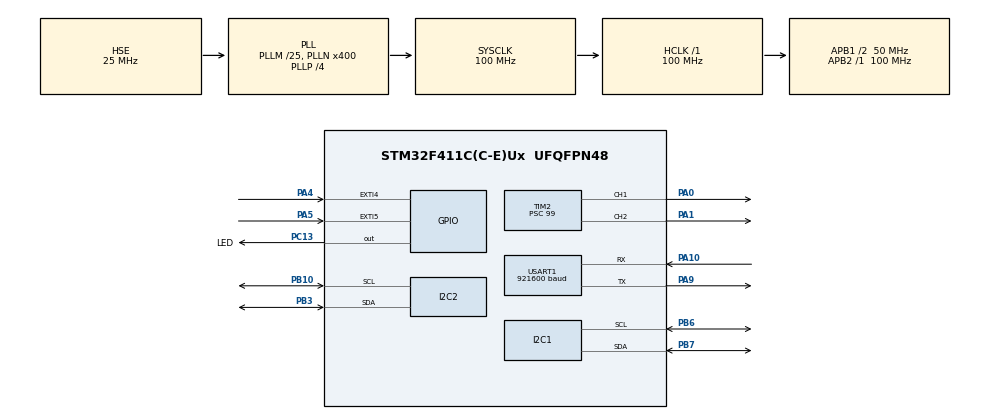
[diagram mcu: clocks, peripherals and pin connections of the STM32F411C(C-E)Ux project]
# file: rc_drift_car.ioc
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I2C1.I2C_Mode=I2C_Fast
I2C2.I2C_Mode=I2C_Fast
Mcu.Family=STM32F4
Mcu.Name=STM32F411C(C-E)Ux
Mcu.Package=UFQFPN48
NVIC.EXTI4_IRQn=true\:0\:0\:false\:false\:true\:true\:true\:true
NVIC.EXTI9_5_IRQn=true\:0\:0\:false\:false\:true\:true\:true\:true
NVIC.PriorityGroup=NVIC_PRIORITYGROUP_4
NVIC.TIM4_IRQn=true\:3\:0\:true\:false\:true\:true\:true\:true
PA0-WKUP.Signal=S_TIM2_CH1_ETR
PA1.Signal=S_TIM2_CH2
PA10.Mode=Asynchronous
PA10.Signal=USART1_RX
PA13.Mode=Serial_Wire
PA13.Signal=SYS_JTMS-SWDIO
PA14.Mode=Serial_Wire
PA14.Signal=SYS_JTCK-SWCLK
PA4.GPIO_ModeDefaultEXTI=GPIO_MODE_IT_RISING_FALLING
PA4.GPIO_PuPd=GPIO_PULLUP
PA4.Signal=GPXTI4
PA5.GPIO_ModeDefaultEXTI=GPIO_MODE_IT_RISING_FALLING
PA5.GPIO_PuPd=GPIO_PULLUP
PA5.Signal=GPXTI5
PA9.Mode=Asynchronous
PA9.Signal=USART1_TX
PB10.Mode=I2C
PB10.Signal=I2C2_SCL
PB3.Mode=I2C
PB3.Signal=I2C2_SDA
PB6.Mode=I2C
PB6.Signal=I2C1_SCL
PB7.Mode=I2C
PB7.Signal=I2C1_SDA
PC13-ANTI_TAMP.GPIO_Label=LED
PC13-ANTI_TAMP.PinState=GPIO_PIN_SET
PC13-ANTI_TAMP.Signal=GPIO_Output
PH0\ -\ OSC_IN.Mode=HSE-External-Oscillator
PH0\ -\ OSC_IN.Signal=RCC_OSC_IN
PH1\ -\ OSC_OUT.Mode=HSE-External-Oscillator
PH1\ -\ OSC_OUT.Signal=RCC_OSC_OUT
ProjectManager.HeapSize=0x200
ProjectManager.StackSize=0x400
ProjectManager.TargetToolchain=CMake
RCC.48MHZClocksFreq_Value=100000000
RCC.AHBFreq_Value=100000000
RCC.APB1CLKDivider=RCC_HCLK_DIV2
RCC.APB1Freq_Value=50000000
RCC.APB1TimFreq_Value=100000000
RCC.APB2Freq_Value=100000000
RCC.APB2TimFreq_Value=100000000
RCC.CortexFreq_Value=100000000
RCC.HCLKFreq_Value=100000000
RCC.HSE_VALUE=25000000
RCC.HSI_VALUE=16000000
RCC.LSE_VALUE=32768
RCC.PLLM=25
RCC.PLLN=400
RCC.PLLP=RCC_PLLP_DIV4
RCC.PLLSourceVirtual=RCC_PLLSOURCE_HSE
RCC.SYSCLKFreq_VALUE=100000000
RCC.SYSCLKSource=RCC_SYSCLKSOURCE_PLLCLK
RCC.VCOOutputFreq_Value=400000000
SH.S_TIM2_CH1_ETR.0=TIM2_CH1,PWM Generation1 CH1
SH.S_TIM2_CH2.0=TIM2_CH2,PWM Generation2 CH2
TIM2.AutoReloadPreload=TIM_AUTORELOAD_PRELOAD_ENABLE
TIM2.Channel-PWM\ Generation1\ CH1=TIM_CHANNEL_1
TIM2.Channel-PWM\ Generation2\ CH2=TIM_CHANNEL_2
TIM2.OCFastMode_PWM-PWM\ Generation1\ CH1=TIM_OCFAST_ENABLE
TIM2.OCFastMode_PWM-PWM\ Generation2\ CH2=TIM_OCFAST_ENABLE
TIM2.Period=19999
TIM2.Prescaler=99
TIM2.Pulse-PWM\ Generation1\ CH1=1500
TIM2.Pulse-PWM\ Generation2\ CH2=1500
TIM4.AutoReloadPreload=TIM_AUTORELOAD_PRELOAD_ENABLE
TIM4.Period=19999
TIM4.Prescaler=99
USART1.BaudRate=921600
USART1.VirtualMode=VM_ASYNC
VP_TIM4_VS_ClockSourceINT.Mode=Internal
board=custom

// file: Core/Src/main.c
/* USER CODE BEGIN Header */
/**
  ******************************************************************************
  * @file           : main.c
  * @brief          : Main program body
  ******************************************************************************
  * @attention
  *
  * Copyright (c) 2026 STMicroelectronics.
  * All rights reserved.
  *
  * This software is licensed under terms that can be found in the LICENSE file
  * in the root directory of this software component.
  * If no LICENSE file comes with this software, it is provided AS-IS.
  *

  ******************************************************************************
  */
/* USER CODE END Header */
#include "main.h"

/* USER CODE BEGIN Includes */

/* 用户自定义模块头文件 */
#include "system_config.h"      /* 系统参数配置（PID参数、PWM中值、滤波器系数等） */
#include "mpu6050.h"            /* MPU6050 六轴传感器驱动 */
#include "imu_filter.h"         /* IMU 姿态解算（互补滤波 / 四元数融合） */
#include "pid.h"                /* PID 控制器 */
#include "vehicle_control.h"    /* 车辆控制：舵机转向 + 电调油门 */
#include "data_logger.h"        /* 数据记录器：UART 日志 / VOFA+ JustFloat 协议输出 */
#include "oled.h"               /* SSD1306 OLED 128x64 显示驱动 */

/* USER CODE END Includes */

I2C_HandleTypeDef hi2c1;
I2C_HandleTypeDef hi2c2;

TIM_HandleTypeDef htim2;
TIM_HandleTypeDef htim4;

UART_HandleTypeDef huart1;

/* USER CODE BEGIN PV */

/* ──────────────── 控制循环标志 ──────────────── */
static volatile uint8_t control_loop_flag = 0; /* TIM4 中断触发，主循环轮询，实现 500Hz 控制频率 */

/* ──────────────── IMU 数据变量 ──────────────── */
static MPU6050_RawData    mpu_raw;         /* 原始 ADC 值（加速度计 / 陀螺仪） */
static MPU6050_ScaledData mpu_scaled;      /* 换算后的物理量（g 和 °/s） */
static IMU_Attitude       imu_att;         /* 姿态数据（欧拉角 + 陀螺角速度） */
static float              gyro_offset[3];  /* 陀螺仪零点偏移校准值 */

/* ──────────────── 执行器控制 ──────────────── */
static Steering_Control   steering;        /* 舵机转向控制结构体 */
static ESC_Control        esc;             /* 电调（油门）控制结构体 */

/* ──────────────── 接收机 PPM 通道 ──────────────── */
static volatile uint32_t  rc_channels[6] = {
    RC_PWM_CENTER, RC_PWM_CENTER, RC_PWM_CENTER,
    RC_PWM_CENTER, RC_PWM_CENTER, RC_PWM_CENTER
};  /* 6 通道 RC PPM 信号脉宽（μs），初始化为中值 */

/* ──────────────── 计数器 ──────────────── */
#if UART_DEBUG_ENABLE
static uint32_t log_counter  = 0;   /* 日志分频计数器 */
#endif
static uint32_t system_tick  = 0;   /* 系统节拍（每 2ms +1） */
static uint32_t oled_counter = 0;   /* OLED 刷新分频计数器 */

extern I2C_HandleTypeDef hi2c2;  /* 用户在 CubeMX 中配置 I2C2 (PB3-SCL, PB10-SDA) */

/* USER CODE END PV */

void SystemClock_Config(void);
static void MX_GPIO_Init(void);
static void MX_I2C1_Init(void);
static void MX_TIM2_Init(void);
static void MX_TIM4_Init(void);
static void MX_USART1_UART_Init(void);
static void MX_I2C2_Init(void);
/* USER CODE BEGIN PFP */

static void Control_Loop_500Hz(void);  /* 500Hz 实时控制循环：IMU读取 → 姿态解算 → 舵机/油门控制 → 日志/OLED */

/* USER CODE END PFP */

int main(void)
{

  /* MCU Configuration--------------------------------------------------------*/

  /* Reset of all peripherals, Initializes the Flash interface and the Systick. */
  HAL_Init();

  /* Configure the system clock */
  SystemClock_Config();

  /* Initialize all configured peripherals */
  MX_GPIO_Init();
  MX_I2C1_Init();
  MX_TIM2_Init();
  MX_TIM4_Init();
  MX_USART1_UART_Init();
  MX_I2C2_Init();
  /* USER CODE BEGIN 2 */

  {
    uint8_t init_status;

    /* ── MPU6050 初始化 ── */
    init_status = MPU6050_Init(&hi2c1);
    if (init_status != 0) {
        /* 初始化失败 → 死循环闪灯报警 */
        while (1) {
            HAL_GPIO_TogglePin(GPIOC, GPIO_PIN_13);
            /* init_status 1 = I2C 通信失败（快闪 100ms），2 = 芯片 ID 不对（慢闪 500ms） */
            if (init_status == 1) {
                HAL_Delay(100);
            } else {
                HAL_Delay(500);
            }
        }
    }

    /* ── 陀螺仪零点校准 ── */
    MPU6050_CalibrateGyro(gyro_offset);   /* 静止采样 1000 次取平均 */
    IMU_Filter_Init(gyro_offset);         /* 互补滤波器初始化，写入零偏 */

    /* ── 舵机 & 电调控制初始化 ── */
    Steering_Init(&steering);             /* 舵机中值 & PID 参数初始化 */
    ESC_Init(&esc);                       /* 电调中值 & 安全范围初始化 */

#if UART_DEBUG_ENABLE
    /* ── 数据记录器初始化 (非阻塞 TX: 环形缓冲 + TXE 中断) ── */
    Logger_Init(&huart1);

#endif
    /* ── PWM 输出启动 (TIM2: CH1=舵机, CH2=油门) ── */
    HAL_TIM_PWM_Start(&htim2, TIM_CHANNEL_1);
    HAL_TIM_PWM_Start(&htim2, TIM_CHANNEL_2);

    /* 舵机回中、油门归零（防止启动瞬间误动作） */
    __HAL_TIM_SET_COMPARE(&htim2, TIM_CHANNEL_1, SERVO_PWM_CENTER);
    __HAL_TIM_SET_COMPARE(&htim2, TIM_CHANNEL_2, THROTTLE_PWM_NEUTRAL);

    /* ── 控制周期中断启动 (TIM4: 500Hz) ── */
    HAL_TIM_Base_Start_IT(&htim4);

    /* ── DWT 周期计数器启用 (PWM 脉宽测量, 1μs分辨率) ── */
    CoreDebug->DEMCR |= CoreDebug_DEMCR_TRCENA_Msk;
    DWT->CYCCNT = 0;
    DWT->CTRL |= DWT_CTRL_CYCCNTENA_Msk;

#if OLED_ENABLE
    /* ── OLED 启动画面 ── */
    OLED_Init(&hi2c2);
    OLED_Clear();
    OLED_SetCursor(0, 0);
    OLED_Print("RC Drift Car");
    OLED_SetCursor(0, 1);
    OLED_Print("OLED Ready...");
    OLED_Refresh();
#endif
  }

  /* USER CODE END 2 */

  /* Infinite loop */
  while (1)
  {

    /* USER CODE BEGIN 3 */
    /* 轮询控制循环标志位（TIM4 中断置位 → 主循环执行 → 清标志） */
    if (control_loop_flag) {
        control_loop_flag = 0;
        system_tick++;               /* 系统节拍递增（每 2ms） */
        Control_Loop_500Hz();        /* 执行 500Hz 控制循环 */
    }
  /* USER CODE END 3 */
  }
  /* USER CODE END WHILE */
}

void SystemClock_Config(void)
{
  RCC_OscInitTypeDef RCC_OscInitStruct = {0};
  RCC_ClkInitTypeDef RCC_ClkInitStruct = {0};

  /** Configure the main internal regulator output voltage
  */
  __HAL_RCC_PWR_CLK_ENABLE();
  __HAL_PWR_VOLTAGESCALING_CONFIG(PWR_REGULATOR_VOLTAGE_SCALE1);

  /** Initializes the RCC Oscillators according to the specified parameters
  * in the RCC_OscInitTypeDef structure.
  */
  RCC_OscInitStruct.OscillatorType = RCC_OSCILLATORTYPE_HSE;
  RCC_OscInitStruct.HSEState = RCC_HSE_ON;
  RCC_OscInitStruct.PLL.PLLState = RCC_PLL_ON;
  RCC_OscInitStruct.PLL.PLLSource = RCC_PLLSOURCE_HSE;
  RCC_OscInitStruct.PLL.PLLM = 25;
  RCC_OscInitStruct.PLL.PLLN = 400;
  RCC_OscInitStruct.PLL.PLLP = RCC_PLLP_DIV4;
  RCC_OscInitStruct.PLL.PLLQ = 4;
  if (HAL_RCC_OscConfig(&RCC_OscInitStruct) != HAL_OK)
  {
    Error_Handler();
  }

  /** Initializes the CPU, AHB and APB buses clocks
  */
  RCC_ClkInitStruct.ClockType = RCC_CLOCKTYPE_HCLK|RCC_CLOCKTYPE_SYSCLK
                              |RCC_CLOCKTYPE_PCLK1|RCC_CLOCKTYPE_PCLK2;
  RCC_ClkInitStruct.SYSCLKSource = RCC_SYSCLKSOURCE_PLLCLK;
  RCC_ClkInitStruct.AHBCLKDivider = RCC_SYSCLK_DIV1;
  RCC_ClkInitStruct.APB1CLKDivider = RCC_HCLK_DIV2;
  RCC_ClkInitStruct.APB2CLKDivider = RCC_HCLK_DIV1;

  if (HAL_RCC_ClockConfig(&RCC_ClkInitStruct, FLASH_LATENCY_3) != HAL_OK)
  {
    Error_Handler();
  }
}

static void MX_I2C1_Init(void)
{

  hi2c1.Instance = I2C1;
  hi2c1.Init.ClockSpeed = 400000;
  hi2c1.Init.DutyCycle = I2C_DUTYCYCLE_2;
  hi2c1.Init.OwnAddress1 = 0;
  hi2c1.Init.AddressingMode = I2C_ADDRESSINGMODE_7BIT;
  hi2c1.Init.DualAddressMode = I2C_DUALADDRESS_DISABLE;
  hi2c1.Init.OwnAddress2 = 0;
  hi2c1.Init.GeneralCallMode = I2C_GENERALCALL_DISABLE;
  hi2c1.Init.NoStretchMode = I2C_NOSTRETCH_DISABLE;
  if (HAL_I2C_Init(&hi2c1) != HAL_OK)
  {
    Error_Handler();
  }

}

static void MX_I2C2_Init(void)
{

  hi2c2.Instance = I2C2;
  hi2c2.Init.ClockSpeed = 400000;
  hi2c2.Init.DutyCycle = I2C_DUTYCYCLE_2;
  hi2c2.Init.OwnAddress1 = 0;
  hi2c2.Init.AddressingMode = I2C_ADDRESSINGMODE_7BIT;
  hi2c2.Init.DualAddressMode = I2C_DUALADDRESS_DISABLE;
  hi2c2.Init.OwnAddress2 = 0;
  hi2c2.Init.GeneralCallMode = I2C_GENERALCALL_DISABLE;
  hi2c2.Init.NoStretchMode = I2C_NOSTRETCH_DISABLE;
  if (HAL_I2C_Init(&hi2c2) != HAL_OK)
  {
    Error_Handler();
  }

}

static void MX_TIM2_Init(void)
{

  TIM_MasterConfigTypeDef sMasterConfig = {0};
  TIM_OC_InitTypeDef sConfigOC = {0};

  htim2.Instance = TIM2;
  htim2.Init.Prescaler = 99;
  htim2.Init.CounterMode = TIM_COUNTERMODE_UP;
  htim2.Init.Period = 19999;
  htim2.Init.ClockDivision = TIM_CLOCKDIVISION_DIV1;
  htim2.Init.AutoReloadPreload = TIM_AUTORELOAD_PRELOAD_ENABLE;
  if (HAL_TIM_PWM_Init(&htim2) != HAL_OK)
  {
    Error_Handler();
  }
  sMasterConfig.MasterOutputTrigger = TIM_TRGO_RESET;
  sMasterConfig.MasterSlaveMode = TIM_MASTERSLAVEMODE_DISABLE;
  if (HAL_TIMEx_MasterConfigSynchronization(&htim2, &sMasterConfig) != HAL_OK)
  {
    Error_Handler();
  }
  sConfigOC.OCMode = TIM_OCMODE_PWM1;
  sConfigOC.Pulse = 1500;
  sConfigOC.OCPolarity = TIM_OCPOLARITY_HIGH;
  sConfigOC.OCFastMode = TIM_OCFAST_ENABLE;
  if (HAL_TIM_PWM_ConfigChannel(&htim2, &sConfigOC, TIM_CHANNEL_1) != HAL_OK)
  {
    Error_Handler();
  }
  if (HAL_TIM_PWM_ConfigChannel(&htim2, &sConfigOC, TIM_CHANNEL_2) != HAL_OK)
  {
    Error_Handler();
  }
  HAL_TIM_MspPostInit(&htim2);

}

static void MX_TIM4_Init(void)
{

  TIM_ClockConfigTypeDef sClockSourceConfig = {0};
  TIM_MasterConfigTypeDef sMasterConfig = {0};

  htim4.Instance = TIM4;
  htim4.Init.Prescaler = 99;
  htim4.Init.CounterMode = TIM_COUNTERMODE_UP;
  htim4.Init.Period = 1999;
  htim4.Init.ClockDivision = TIM_CLOCKDIVISION_DIV1;
  htim4.Init.AutoReloadPreload = TIM_AUTORELOAD_PRELOAD_ENABLE;
  if (HAL_TIM_Base_Init(&htim4) != HAL_OK)
  {
    Error_Handler();
  }
  sClockSourceConfig.ClockSource = TIM_CLOCKSOURCE_INTERNAL;
  if (HAL_TIM_ConfigClockSource(&htim4, &sClockSourceConfig) != HAL_OK)
  {
    Error_Handler();
  }
  sMasterConfig.MasterOutputTrigger = TIM_TRGO_RESET;
  sMasterConfig.MasterSlaveMode = TIM_MASTERSLAVEMODE_DISABLE;
  if (HAL_TIMEx_MasterConfigSynchronization(&htim4, &sMasterConfig) != HAL_OK)
  {
    Error_Handler();
  }

}

static void MX_USART1_UART_Init(void)
{

  huart1.Instance = USART1;
  huart1.Init.BaudRate = LOG_BAUDRATE;  // 从 system_config.h 读取 (默认 115200)
  huart1.Init.WordLength = UART_WORDLENGTH_8B;
  huart1.Init.StopBits = UART_STOPBITS_1;
  huart1.Init.Parity = UART_PARITY_NONE;
  huart1.Init.Mode = UART_MODE_TX_RX;
  huart1.Init.HwFlowCtl = UART_HWCONTROL_NONE;
  huart1.Init.OverSampling = UART_OVERSAMPLING_16;
  if (HAL_UART_Init(&huart1) != HAL_OK)
  {
    Error_Handler();
  }

}

static void MX_GPIO_Init(void)
{
  GPIO_InitTypeDef GPIO_InitStruct = {0};

  /* GPIO Ports Clock Enable */
  __HAL_RCC_GPIOC_CLK_ENABLE();
  __HAL_RCC_GPIOH_CLK_ENABLE();
  __HAL_RCC_GPIOA_CLK_ENABLE();
  __HAL_RCC_GPIOB_CLK_ENABLE();

  /*Configure GPIO pin Output Level */
  HAL_GPIO_WritePin(LED_GPIO_Port, LED_Pin, GPIO_PIN_SET);

  /*Configure GPIO pin : LED_Pin */
  GPIO_InitStruct.Pin = LED_Pin;
  GPIO_InitStruct.Mode = GPIO_MODE_OUTPUT_PP;
  GPIO_InitStruct.Pull = GPIO_NOPULL;
  GPIO_InitStruct.Speed = GPIO_SPEED_FREQ_LOW;
  HAL_GPIO_Init(LED_GPIO_Port, &GPIO_InitStruct);

  /*Configure GPIO pins : PA4 PA5 */
  GPIO_InitStruct.Pin = GPIO_PIN_4|GPIO_PIN_5;
  GPIO_InitStruct.Mode = GPIO_MODE_IT_RISING_FALLING;
  GPIO_InitStruct.Pull = GPIO_PULLUP;
  HAL_GPIO_Init(GPIOA, &GPIO_InitStruct);

  /* EXTI interrupt init*/
  HAL_NVIC_SetPriority(EXTI4_IRQn, 0, 0);
  HAL_NVIC_EnableIRQ(EXTI4_IRQn);

  HAL_NVIC_SetPriority(EXTI9_5_IRQn, 0, 0);
  HAL_NVIC_EnableIRQ(EXTI9_5_IRQn);

}

/* USER CODE BEGIN 4 */

/* ────────────────────────────────────────────────────────────────────────────
 *  GPIO EXTI 回调 — PWM 接收机脉宽测量
 *  ───────────────────────────────────────────────────────────────────────────
 *  HotRC F-06 输出独立 PWM 信号 (每通道单独一根线):
 *    - PA4 (EXTI4): CH1 转向, 下降沿测量脉宽
 *    - PA5 (EXTI5): CH3 油门, 下降沿测量脉宽
 *
 *  工作原理:
 *    - 上升沿: 记录 DWT->CYCCNT 时间戳 (1μs 精度)
 *    - 下降沿: 计算脉宽 = 当前时间 - 上升沿时间
 *    - 有效脉宽范围: 1000~2000μs (RC 标准)
 * ─────────────────────────────────────────────────────────────────────────── */
void HAL_GPIO_EXTI_Callback(uint16_t GPIO_Pin) {
    static uint32_t steer_rising = 0, thr_rising = 0;
    uint32_t now = DWT->CYCCNT / 100;

    if (GPIO_Pin == RC_STEERING_PIN) {
        if (HAL_GPIO_ReadPin(RC_STEERING_PORT, RC_STEERING_PIN)) {
            steer_rising = now;
        } else if (steer_rising > 0) {
            uint32_t pw = now - steer_rising;
            if (pw >= RC_PWM_MIN && pw <= RC_PWM_MAX)
                rc_channels[RC_CH_STEERING] = pw;
        }
    }
    else if (GPIO_Pin == RC_THROTTLE_PIN) {
        if (HAL_GPIO_ReadPin(RC_THROTTLE_PORT, RC_THROTTLE_PIN)) {
            thr_rising = now;
        } else if (thr_rising > 0) {
            uint32_t pw = now - thr_rising;
            if (pw >= RC_PWM_MIN && pw <= RC_PWM_MAX)
                rc_channels[RC_CH_THROTTLE] = pw;
        }
    }
}

/* ────────────────────────────────────────────────────────────────────────────
 *  TIM4 周期中断回调 — 控制循环节拍发生器
 *  ───────────────────────────────────────────────────────────────────────────
 *  TIM4 ARR=1999, PSC=99 → 500Hz 中断频率
 *  该回调仅置位标志位, 实际控制逻辑在主循环中轮询执行
 * ─────────────────────────────────────────────────────────────────────────── */
void HAL_TIM_PeriodElapsedCallback(TIM_HandleTypeDef *htim) {
    if (htim->Instance == TIM4) {
        control_loop_flag = 1;
    }
}

/* ═══════════════════════════════════════════════════════════════════════════
 *  Control_Loop_500Hz — 核心实时控制循环
 *  ═══════════════════════════════════════════════════════════════════════════
 *  执行频率: TIM4 中断触发 → 主循环轮询 → 约 500Hz
 *  执行步骤:
 *    ① MPU6050 读取原始数据 (I2C 400kHz)
 *    ② 数据换算 (LSB → g / °/s)
 *    ③ IMU 互补滤波姿态解算 (欧拉角 + 陀螺角速度)
 *    ④ RC 接收机通道值解析 (舵机角度 / 油门量)
 *    ⑤ 舵机 PD 控制器更新 (目标角度 → 陀螺仪反馈 → PWM)
 *    ⑥ 更新 PWM 输出 (TIM2 CH1/CH2)
 *    ⑦ OLED 分频刷新 (约 10Hz)
 *    ⑧ 数据日志分频输出 (UART / VOFA+ 协议)
 * ─────────────────────────────────────────────────────────────────────────── */
static void Control_Loop_500Hz(void) {
    static uint32_t last_cycle = 0;
    uint32_t now_cycle = DWT->CYCCNT;
    float measured_dt = COMP_FILTER_DT;

    if (last_cycle != 0U) {
        uint32_t elapsed_cycles = now_cycle - last_cycle;
        measured_dt = (float)elapsed_cycles / (float)SystemCoreClock;

        if (measured_dt < 0.0005f) measured_dt = COMP_FILTER_DT;
        if (measured_dt > 0.0200f) measured_dt = COMP_FILTER_DT;
    }
    last_cycle = now_cycle;
    float dt = COMP_FILTER_DT;  /* 互补滤波时间常数 (秒) */

    /* ── ① 读取 MPU6050 原始数据 ── */
    if (MPU6050_ReadRaw(&mpu_raw) != 0) {
        return;  /* I2C 读取失败则跳过本次循环 */
    }
    /* ── ② 原始 ADC → 物理量换算 ── */
    MPU6050_ScaleData(&mpu_raw, &mpu_scaled);

    /* ── ③ RC辅助归零信号 → IMU零漂补偿 ── */
    {
        /* 将遥控器PWM转为归一化值 [-1, 1] 传给IMU滤波器用于零偏判定 */
        float thr_norm, str_norm;
        uint32_t rc_pwm;
        rc_pwm = rc_channels[RC_CH_THROTTLE];
        if (rc_pwm <= RC_PWM_CENTER + 20 && rc_pwm >= RC_PWM_CENTER - 20)
            thr_norm = 0.0f;
        else if (rc_pwm > RC_PWM_CENTER)
            thr_norm = (float)(rc_pwm - RC_PWM_CENTER) / (float)(RC_PWM_MAX - RC_PWM_CENTER);
        else
            thr_norm = (float)(rc_pwm - RC_PWM_CENTER) / (float)(RC_PWM_CENTER - RC_PWM_MIN);

        rc_pwm = rc_channels[RC_CH_STEERING];
        if (rc_pwm <= RC_PWM_CENTER + 20 && rc_pwm >= RC_PWM_CENTER - 20)
            str_norm = 0.0f;
        else if (rc_pwm > RC_PWM_CENTER)
            str_norm = (float)(rc_pwm - RC_PWM_CENTER) / (float)(RC_PWM_MAX - RC_PWM_CENTER);
        else
            str_norm = (float)(rc_pwm - RC_PWM_CENTER) / (float)(RC_PWM_CENTER - RC_PWM_MIN);

        IMU_SetRCInputs(thr_norm, str_norm);
        dt = measured_dt;
    }

    /* ── ④ IMU 互补滤波姿态融合 ── */
    IMU_Filter_Update(
        mpu_scaled.gx, mpu_scaled.gy, mpu_scaled.gz,   /* 陀螺角速度 (°/s) */
        mpu_scaled.ax, mpu_scaled.ay, mpu_scaled.az,   /* 加速度计 (g) */
        dt, &imu_att                                    /* 时间常数 & 输出姿态 */
    );

    /* ── ⑤ RC 通道值映射 ── */
    Steering_SetRC(&steering, rc_channels[RC_CH_STEERING]);  /* CH1 → 转向角度 (1000~2000μs) */
    ESC_SetThrottle(&esc,   rc_channels[RC_CH_THROTTLE]);    /* CH2 → 油门量 (1000~2000μs) */

    /* ── ⑥ 舵机 PD 控制器 ── */
    Steering_Update(&steering, imu_att.gyro_z, dt);

    /* ── ⑦ 更新 PWM 输出 ── */
    __HAL_TIM_SET_COMPARE(&htim2, TIM_CHANNEL_1,
                          Steering_GetPWM(&steering));  /* 舵机 PWM */
    __HAL_TIM_SET_COMPARE(&htim2, TIM_CHANNEL_2,
                          ESC_GetPWM(&esc));             /* 油门 PWM */

#if OLED_ENABLE
    /* ── ⑦ OLED 分频刷新 (约 10Hz) ── */
    oled_counter++;
    if (oled_counter >= OLED_REFRESH_DIV) {
        oled_counter = 0;

        /* 第0行: Yaw(偏航) / Pitch(俯仰) */
        OLED_SetCursor(0, 0);
        OLED_Print("Y:");
        OLED_PrintFloat(imu_att.yaw, 4, 1);
        OLED_Print(" P:");
        OLED_PrintFloat(imu_att.pitch, 4, 1);

        /* 第1行: Roll(翻滚) / GyroZ(Z轴角速度) */
        OLED_SetCursor(0, 1);
        OLED_Print("R:");
        OLED_PrintFloat(imu_att.roll, 4, 1);
        OLED_Print(" GZ:");
        OLED_PrintFloat(imu_att.gyro_z, 4, 1);

        /* 第2行: GyroX / GyroY (X/Y轴角速度) */
        OLED_SetCursor(0, 2);
        OLED_Print("GX:");
        OLED_PrintFloat(imu_att.gyro_x, 4, 1);
        OLED_Print(" GY:");
        OLED_PrintFloat(imu_att.gyro_y, 4, 1);

        /* 第3行: 舵机 PWM / 油门 PWM */
        OLED_SetCursor(0, 3);
        OLED_Print("ST:");
        OLED_PrintInt(Steering_GetPWM(&steering));
        OLED_Print(" TH:");
        OLED_PrintInt(ESC_GetPWM(&esc));

        OLED_Refresh();  /* 将缓冲区写入 SSD1306 显存 */
    }
#endif

#if UART_DEBUG_ENABLE
    /* ── ⑧ 数据日志分频输出 ── */
    log_counter++;
    if (log_counter >= LOG_DIVIDER) {
        log_counter = 0;

#if VOFA_OUTPUT_ENABLE
        /* VOFA+ JustFloat 协议: 10 个 float (40 字节) + 帧尾 */
        Logger_SendVOFA(&imu_att);
#else
        /* CSV 文本帧: 14 字段 (姿态+陀螺+加速+RC+PWM) */
        LogFrame frame;
        frame.tick           = system_tick;               /* 系统节拍计数 */
        frame.target_angle   = steering.rc_angle;         /* RC 目标转向角度 */
        frame.current_yaw    = imu_att.yaw;               /* IMU 当前偏航角 */
        frame.gyro_z         = imu_att.gyro_z;            /* Z 轴角速度 */
        frame.imu_alpha      = imu_att.alpha;             /* IMU 动态融合权重 */
        frame.gyro_z_offset  = imu_att.gyro_z_offset;     /* Z 轴陀螺零偏估计 */
        frame.zero_allowed   = imu_att.zero_allowed;      /* 零偏更新允许状态 */
        frame.imu_static     = imu_att.is_static;         /* 零偏更新状态 */
        frame.pd_output      = steering.servo_angle_cmd;  /* PD 控制器输出 */
        frame.servo_pwm      = Steering_GetPWM(&steering);/* 最终舵机 PWM */
        frame.throttle_input = esc.throttle_output;       /* 油门输出值 */
        frame.esc_pwm        = ESC_GetPWM(&esc);          /* 最终电调 PWM */

        Logger_SendCSV(&frame, &imu_att);
#endif
    }
#endif
}

/* USER CODE END 4 */

void Error_Handler(void)
{
  /* USER CODE BEGIN Error_Handler_Debug */
  /* 用户可在此添加错误上报逻辑（如 LED 闪烁、日志输出等） */
  __disable_irq();   /* 关闭所有中断 */
  while (1)
  {
  }
  /* USER CODE END Error_Handler_Debug */
}
